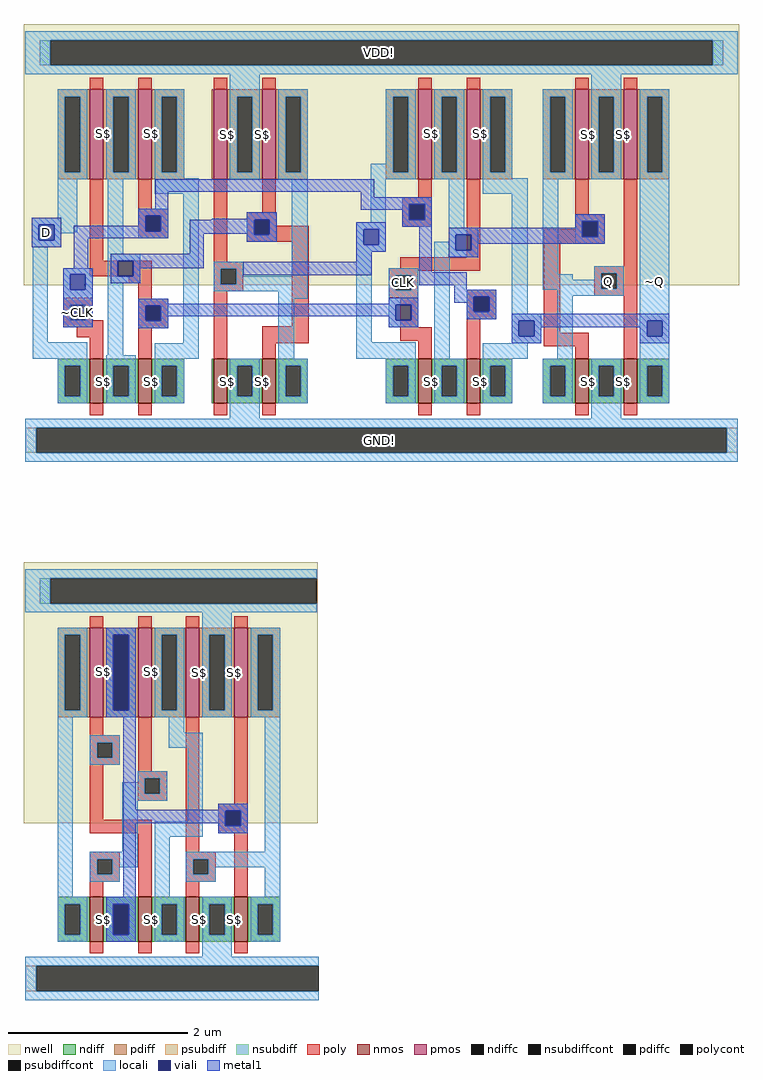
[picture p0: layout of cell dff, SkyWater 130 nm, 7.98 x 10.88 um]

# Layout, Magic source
magic
tech sky130A
<< nwell >>
rect -2 197 796 488
rect -2 -403 326 -112
<< nmos >>
rect 72 65 87 115
rect 126 65 141 115
rect 210 65 225 115
rect 264 65 279 115
rect 438 65 453 115
rect 492 65 507 115
rect 613 65 628 115
rect 667 65 682 115
rect 72 -535 87 -485
rect 126 -535 141 -485
rect 179 -535 194 -485
rect 233 -535 248 -485
<< pmos >>
rect 72 315 87 415
rect 126 315 141 415
rect 210 315 225 415
rect 264 315 279 415
rect 438 315 453 415
rect 492 315 507 415
rect 613 315 628 415
rect 667 315 682 415
rect 72 -285 87 -185
rect 126 -285 141 -185
rect 179 -285 194 -185
rect 233 -285 248 -185
<< ndiff >>
rect 36 107 72 115
rect 36 73 44 107
rect 61 73 72 107
rect 36 65 72 73
rect 87 107 126 115
rect 87 73 98 107
rect 115 73 126 107
rect 87 65 126 73
rect 141 107 177 115
rect 141 73 152 107
rect 169 73 177 107
rect 141 65 177 73
rect 208 65 210 115
rect 225 107 264 115
rect 225 73 236 107
rect 253 73 264 107
rect 225 65 264 73
rect 279 107 315 115
rect 279 73 290 107
rect 307 73 315 107
rect 279 65 315 73
rect 402 107 438 115
rect 402 73 410 107
rect 427 73 438 107
rect 402 65 438 73
rect 453 107 492 115
rect 453 73 464 107
rect 481 73 492 107
rect 453 65 492 73
rect 507 107 543 115
rect 507 73 518 107
rect 535 73 543 107
rect 507 65 543 73
rect 577 107 613 115
rect 577 73 585 107
rect 602 73 613 107
rect 577 65 613 73
rect 628 107 667 115
rect 628 73 639 107
rect 656 73 667 107
rect 628 65 667 73
rect 682 107 718 115
rect 682 73 693 107
rect 710 73 718 107
rect 682 65 718 73
rect 36 -493 72 -485
rect 36 -527 44 -493
rect 61 -527 72 -493
rect 36 -535 72 -527
rect 87 -493 126 -485
rect 87 -527 98 -493
rect 115 -527 126 -493
rect 87 -535 126 -527
rect 141 -493 179 -485
rect 141 -527 152 -493
rect 169 -527 179 -493
rect 141 -535 179 -527
rect 194 -493 233 -485
rect 194 -527 205 -493
rect 222 -527 233 -493
rect 194 -535 233 -527
rect 248 -493 284 -485
rect 248 -527 259 -493
rect 276 -527 284 -493
rect 248 -535 284 -527
<< pdiff >>
rect 36 407 72 415
rect 36 323 44 407
rect 61 323 72 407
rect 36 315 72 323
rect 87 407 126 415
rect 87 323 98 407
rect 115 323 126 407
rect 87 315 126 323
rect 141 407 177 415
rect 141 323 152 407
rect 169 323 177 407
rect 141 315 177 323
rect 208 315 210 415
rect 225 407 264 415
rect 225 323 236 407
rect 253 323 264 407
rect 225 315 264 323
rect 279 407 315 415
rect 279 323 290 407
rect 307 323 315 407
rect 279 315 315 323
rect 402 407 438 415
rect 402 323 410 407
rect 427 323 438 407
rect 402 315 438 323
rect 453 407 492 415
rect 453 323 464 407
rect 481 323 492 407
rect 453 315 492 323
rect 507 407 543 415
rect 507 323 518 407
rect 535 323 543 407
rect 507 315 543 323
rect 577 407 613 415
rect 577 323 585 407
rect 602 323 613 407
rect 577 315 613 323
rect 628 407 667 415
rect 628 323 639 407
rect 656 323 667 407
rect 628 315 667 323
rect 682 407 718 415
rect 682 323 693 407
rect 710 323 718 407
rect 682 315 718 323
rect 36 -193 72 -185
rect 36 -277 44 -193
rect 61 -277 72 -193
rect 36 -285 72 -277
rect 87 -193 126 -185
rect 87 -277 98 -193
rect 115 -277 126 -193
rect 87 -285 126 -277
rect 141 -193 179 -185
rect 141 -277 152 -193
rect 169 -277 179 -193
rect 141 -285 179 -277
rect 194 -193 233 -185
rect 194 -277 205 -193
rect 222 -277 233 -193
rect 194 -285 233 -277
rect 248 -193 284 -185
rect 248 -277 259 -193
rect 276 -277 284 -193
rect 248 -285 284 -277
<< ndiffc >>
rect 44 73 61 107
rect 98 73 115 107
rect 152 73 169 107
rect 236 73 253 107
rect 290 73 307 107
rect 410 73 427 107
rect 464 73 481 107
rect 518 73 535 107
rect 585 73 602 107
rect 639 73 656 107
rect 693 73 710 107
rect 44 -527 61 -493
rect 98 -527 115 -493
rect 152 -527 169 -493
rect 205 -527 222 -493
rect 259 -527 276 -493
<< pdiffc >>
rect 44 323 61 407
rect 98 323 115 407
rect 152 323 169 407
rect 236 323 253 407
rect 290 323 307 407
rect 410 323 427 407
rect 464 323 481 407
rect 518 323 535 407
rect 585 323 602 407
rect 639 323 656 407
rect 693 323 710 407
rect 44 -277 61 -193
rect 98 -277 115 -193
rect 152 -277 169 -193
rect 205 -277 222 -193
rect 259 -277 276 -193
<< psubdiff >>
rect 0 10 12 38
rect 782 10 794 38
rect 0 -590 12 -562
<< nsubdiff >>
rect 16 442 28 470
rect 766 442 778 470
rect 16 -158 28 -130
<< psubdiffcont >>
rect 12 10 782 38
rect 12 -590 327 -562
<< nsubdiffcont >>
rect 28 442 766 470
rect 28 -158 325 -130
<< poly >>
rect 72 415 87 428
rect 126 415 141 428
rect 210 415 225 428
rect 264 415 279 428
rect 438 415 453 428
rect 492 415 507 428
rect 613 415 628 428
rect 667 415 682 428
rect 72 224 87 315
rect 126 282 141 315
rect 126 274 159 282
rect 126 257 134 274
rect 151 257 159 274
rect 126 249 159 257
rect 72 207 141 224
rect 115 199 141 207
rect 42 175 75 183
rect 42 158 50 175
rect 67 158 75 175
rect 126 182 141 199
rect 210 223 225 315
rect 264 278 279 315
rect 438 295 453 315
rect 420 287 453 295
rect 247 270 280 278
rect 247 253 255 270
rect 272 263 280 270
rect 420 270 428 287
rect 445 270 453 287
rect 272 253 316 263
rect 420 262 453 270
rect 247 245 316 253
rect 210 215 243 223
rect 210 198 218 215
rect 235 198 243 215
rect 210 190 243 198
rect 126 174 159 182
rect 42 150 87 158
rect 57 139 87 150
rect 72 115 87 139
rect 126 157 134 174
rect 151 157 159 174
rect 126 149 159 157
rect 126 115 141 149
rect 210 115 225 190
rect 297 151 316 245
rect 492 228 507 315
rect 613 276 628 315
rect 613 268 646 276
rect 613 259 621 268
rect 418 216 507 228
rect 405 213 507 216
rect 578 251 621 259
rect 638 251 646 268
rect 578 243 646 251
rect 405 208 438 213
rect 405 191 413 208
rect 430 191 438 208
rect 405 183 438 191
rect 264 132 316 151
rect 418 150 438 183
rect 492 184 525 192
rect 492 167 500 184
rect 517 167 525 184
rect 492 159 525 167
rect 418 135 453 150
rect 264 115 279 132
rect 438 115 453 135
rect 492 115 507 159
rect 578 144 596 243
rect 667 218 682 315
rect 634 210 682 218
rect 634 193 642 210
rect 659 193 682 210
rect 634 185 682 193
rect 578 129 628 144
rect 613 115 628 129
rect 667 115 682 185
rect 72 52 87 65
rect 126 52 141 65
rect 210 52 225 65
rect 264 52 279 65
rect 438 52 453 65
rect 492 52 507 65
rect 613 52 628 65
rect 667 52 682 65
rect 72 -185 87 -172
rect 126 -185 141 -172
rect 179 -185 194 -172
rect 233 -185 248 -172
rect 72 -305 87 -285
rect 72 -313 105 -305
rect 72 -330 80 -313
rect 97 -330 105 -313
rect 72 -338 105 -330
rect 72 -399 87 -338
rect 126 -345 141 -285
rect 125 -353 158 -345
rect 125 -370 133 -353
rect 150 -370 158 -353
rect 125 -378 158 -370
rect 72 -414 141 -399
rect 72 -443 105 -435
rect 72 -460 80 -443
rect 97 -460 105 -443
rect 72 -468 105 -460
rect 72 -485 87 -468
rect 126 -485 141 -414
rect 179 -435 194 -285
rect 233 -381 248 -285
rect 215 -389 248 -381
rect 215 -406 223 -389
rect 240 -406 248 -389
rect 215 -414 248 -406
rect 179 -443 212 -435
rect 179 -460 187 -443
rect 204 -460 212 -443
rect 179 -468 212 -460
rect 179 -485 194 -468
rect 233 -485 248 -414
rect 72 -548 87 -535
rect 126 -548 141 -535
rect 179 -548 194 -535
rect 233 -548 248 -535
<< polycont >>
rect 134 257 151 274
rect 50 158 67 175
rect 255 253 272 270
rect 428 270 445 287
rect 218 198 235 215
rect 134 157 151 174
rect 621 251 638 268
rect 413 191 430 208
rect 500 167 517 184
rect 642 193 659 210
rect 80 -330 97 -313
rect 133 -370 150 -353
rect 80 -460 97 -443
rect 223 -406 240 -389
rect 187 -460 204 -443
<< locali >>
rect 0 470 794 480
rect 0 442 28 470
rect 766 442 794 470
rect 0 432 794 442
rect 36 407 69 415
rect 36 323 44 407
rect 61 323 69 407
rect 36 315 69 323
rect 90 407 123 415
rect 90 323 98 407
rect 115 323 123 407
rect 90 315 123 323
rect 144 407 177 415
rect 144 323 152 407
rect 169 323 177 407
rect 144 316 177 323
rect 228 407 261 432
rect 228 323 236 407
rect 253 323 261 407
rect 36 272 58 315
rect 7 264 58 272
rect 7 247 15 264
rect 32 256 58 264
rect 32 255 54 256
rect 32 247 40 255
rect 7 239 40 247
rect 8 133 25 239
rect 92 232 109 315
rect 144 299 193 316
rect 228 315 261 323
rect 282 407 315 415
rect 282 323 290 407
rect 307 323 315 407
rect 402 407 435 415
rect 402 332 410 407
rect 282 315 315 323
rect 126 274 159 282
rect 126 257 134 274
rect 151 257 159 274
rect 126 249 159 257
rect 92 224 128 232
rect 42 209 75 216
rect 42 192 50 209
rect 67 192 75 209
rect 42 175 75 192
rect 42 158 50 175
rect 67 158 75 175
rect 42 150 75 158
rect 92 207 103 224
rect 120 207 128 224
rect 92 199 128 207
rect 8 115 69 133
rect 92 119 109 199
rect 126 174 159 182
rect 126 157 134 174
rect 151 157 159 174
rect 126 149 159 157
rect 176 132 193 299
rect 247 270 280 278
rect 247 253 255 270
rect 272 253 280 270
rect 247 245 280 253
rect 210 215 243 223
rect 210 198 218 215
rect 235 207 243 215
rect 297 207 315 315
rect 385 323 410 332
rect 427 323 435 407
rect 385 315 435 323
rect 456 407 489 415
rect 456 323 464 407
rect 481 323 489 407
rect 456 315 489 323
rect 385 267 402 315
rect 235 198 315 207
rect 210 190 315 198
rect 36 107 69 115
rect 36 73 44 107
rect 61 73 69 107
rect 36 65 69 73
rect 90 107 123 119
rect 90 73 98 107
rect 115 73 123 107
rect 90 65 123 73
rect 144 115 193 132
rect 282 182 315 190
rect 369 259 402 267
rect 420 287 453 295
rect 420 270 428 287
rect 445 270 453 287
rect 420 262 453 270
rect 369 242 377 259
rect 394 242 402 259
rect 472 261 489 315
rect 510 407 543 415
rect 510 323 518 407
rect 535 323 543 407
rect 510 316 543 323
rect 577 407 610 415
rect 577 323 585 407
rect 602 323 610 407
rect 510 299 560 316
rect 472 253 505 261
rect 472 245 480 253
rect 369 234 402 242
rect 456 236 480 245
rect 497 236 505 253
rect 282 115 300 182
rect 369 133 386 234
rect 456 228 505 236
rect 405 208 438 216
rect 405 191 413 208
rect 430 191 438 208
rect 405 175 438 191
rect 405 158 413 175
rect 430 158 438 175
rect 405 150 438 158
rect 369 115 435 133
rect 144 107 177 115
rect 144 73 152 107
rect 169 73 177 107
rect 144 65 177 73
rect 228 107 261 115
rect 228 73 236 107
rect 253 73 261 107
rect 228 48 261 73
rect 282 107 315 115
rect 282 73 290 107
rect 307 73 315 107
rect 282 65 315 73
rect 402 107 435 115
rect 402 73 410 107
rect 427 73 435 107
rect 402 65 435 73
rect 456 115 473 228
rect 492 184 525 192
rect 492 167 500 184
rect 517 167 525 184
rect 492 159 525 167
rect 542 165 560 299
rect 577 315 610 323
rect 631 407 664 432
rect 631 323 639 407
rect 656 323 664 407
rect 631 315 664 323
rect 685 407 718 415
rect 685 323 693 407
rect 710 323 718 407
rect 577 209 594 315
rect 613 268 646 276
rect 613 251 621 268
rect 638 251 646 268
rect 613 243 646 251
rect 634 210 667 218
rect 577 203 610 209
rect 634 203 642 210
rect 577 193 642 203
rect 659 193 667 210
rect 577 192 667 193
rect 593 185 667 192
rect 542 157 575 165
rect 542 140 550 157
rect 567 140 575 157
rect 542 132 575 140
rect 510 115 560 132
rect 593 115 610 185
rect 685 157 718 323
rect 685 140 693 157
rect 710 140 718 157
rect 456 107 489 115
rect 456 73 464 107
rect 481 73 489 107
rect 456 65 489 73
rect 510 107 543 115
rect 510 73 518 107
rect 535 73 543 107
rect 510 65 543 73
rect 577 107 610 115
rect 577 73 585 107
rect 602 73 610 107
rect 577 65 610 73
rect 631 107 664 115
rect 631 73 639 107
rect 656 73 664 107
rect 631 48 664 73
rect 685 107 718 140
rect 685 73 693 107
rect 710 73 718 107
rect 685 65 718 73
rect 0 38 794 48
rect 0 10 12 38
rect 782 10 794 38
rect 0 0 794 10
rect 0 -130 325 -120
rect 0 -158 28 -130
rect 0 -168 325 -158
rect 36 -193 69 -185
rect 36 -277 44 -193
rect 61 -277 69 -193
rect 36 -285 69 -277
rect 90 -193 123 -185
rect 90 -277 98 -193
rect 115 -277 123 -193
rect 90 -285 123 -277
rect 144 -193 177 -185
rect 144 -277 152 -193
rect 169 -277 177 -193
rect 144 -285 177 -277
rect 197 -193 230 -168
rect 197 -277 205 -193
rect 222 -277 230 -193
rect 197 -285 230 -277
rect 251 -193 284 -185
rect 251 -277 259 -193
rect 276 -277 284 -193
rect 251 -285 284 -277
rect 36 -485 53 -285
rect 160 -302 177 -285
rect 72 -313 105 -305
rect 72 -330 80 -313
rect 97 -330 105 -313
rect 160 -319 198 -302
rect 72 -338 105 -330
rect 125 -353 158 -345
rect 125 -357 133 -353
rect 108 -370 133 -357
rect 150 -370 158 -353
rect 108 -378 158 -370
rect 108 -435 125 -378
rect 181 -401 198 -319
rect 72 -443 125 -435
rect 72 -460 80 -443
rect 97 -452 125 -443
rect 144 -418 198 -401
rect 215 -389 248 -381
rect 215 -406 223 -389
rect 240 -406 248 -389
rect 215 -414 248 -406
rect 97 -460 105 -452
rect 72 -468 105 -460
rect 144 -485 161 -418
rect 267 -435 284 -285
rect 179 -443 284 -435
rect 179 -460 187 -443
rect 204 -452 284 -443
rect 204 -460 212 -452
rect 179 -468 212 -460
rect 267 -485 284 -452
rect 36 -493 69 -485
rect 36 -527 44 -493
rect 61 -527 69 -493
rect 36 -535 69 -527
rect 90 -493 123 -485
rect 90 -527 98 -493
rect 115 -527 123 -493
rect 90 -535 123 -527
rect 144 -493 177 -485
rect 144 -527 152 -493
rect 169 -527 177 -493
rect 144 -535 177 -527
rect 197 -493 230 -485
rect 197 -527 205 -493
rect 222 -527 230 -493
rect 197 -552 230 -527
rect 251 -493 284 -485
rect 251 -527 259 -493
rect 276 -527 284 -493
rect 251 -535 284 -527
rect 0 -562 327 -552
rect 0 -590 12 -562
rect 0 -600 327 -590
<< viali >>
rect 15 247 32 264
rect 134 257 151 274
rect 50 192 67 209
rect 103 207 120 224
rect 134 157 151 174
rect 255 253 272 270
rect 428 270 445 287
rect 377 242 394 259
rect 480 236 497 253
rect 413 158 430 175
rect 500 167 517 184
rect 621 251 638 268
rect 550 140 567 157
rect 693 140 710 157
rect 98 -277 115 -193
rect 223 -406 240 -389
rect 98 -527 115 -493
<< metal1 >>
rect 145 301 389 315
rect 145 282 159 301
rect 126 274 159 282
rect 374 295 389 301
rect 374 287 453 295
rect 374 281 428 287
rect 7 264 40 272
rect 7 247 15 264
rect 32 247 40 264
rect 126 263 134 274
rect 7 239 40 247
rect 54 257 134 263
rect 151 257 159 274
rect 247 271 280 278
rect 208 270 280 271
rect 54 249 159 257
rect 183 254 255 270
rect 54 216 70 249
rect 183 232 199 254
rect 247 253 255 254
rect 272 253 280 270
rect 420 270 428 281
rect 445 270 453 287
rect 247 245 280 253
rect 369 259 402 267
rect 420 262 453 270
rect 95 224 199 232
rect 42 209 75 216
rect 42 192 50 209
rect 67 192 75 209
rect 95 207 103 224
rect 120 216 199 224
rect 369 242 377 259
rect 394 242 402 259
rect 369 234 402 242
rect 369 223 386 234
rect 120 207 128 216
rect 243 208 386 223
rect 439 211 453 262
rect 613 268 646 276
rect 613 261 621 268
rect 472 253 621 261
rect 472 236 480 253
rect 497 251 621 253
rect 638 251 646 268
rect 497 243 646 251
rect 497 236 505 243
rect 472 228 505 236
rect 95 199 128 207
rect 439 197 492 211
rect 42 150 75 192
rect 478 192 492 197
rect 478 184 525 192
rect 126 176 159 182
rect 405 176 438 183
rect 478 177 500 184
rect 126 175 438 176
rect 126 174 413 175
rect 126 157 134 174
rect 151 162 413 174
rect 151 157 159 162
rect 126 149 159 157
rect 405 158 413 162
rect 430 158 438 175
rect 492 167 500 177
rect 517 167 525 184
rect 492 159 525 167
rect 405 150 438 158
rect 542 157 718 165
rect 542 140 550 157
rect 567 150 693 157
rect 567 140 575 150
rect 542 132 575 140
rect 685 140 693 150
rect 710 140 718 157
rect 685 132 718 140
rect 90 -193 123 -185
rect 90 -277 98 -193
rect 115 -277 123 -193
rect 90 -285 123 -277
rect 109 -388 123 -285
rect 215 -388 248 -381
rect 109 -389 248 -388
rect 109 -403 223 -389
rect 109 -485 123 -403
rect 215 -406 223 -403
rect 240 -406 248 -389
rect 215 -414 248 -406
rect 90 -493 123 -485
rect 90 -527 98 -493
rect 115 -527 123 -493
rect 90 -535 123 -527
<< labels >>
flabel pdiff 87 366 87 366 1 FreeSerif 8 0 0 0 S$
flabel pdiff 141 366 141 366 1 FreeSerif 8 0 0 0 S$
flabel ndiff 141 90 141 90 1 FreeSerif 8 0 0 0 S$
flabel ndiff 87 90 87 90 1 FreeSerif 8 0 0 0 S$
flabel locali 0 432 790 480 0 FreeSerif 80 0 0 0 VDD!
port 15 nsew
flabel locali 0 0 790 48 0 FreeSerif 80 0 0 0 GND!
port 16 nsew
flabel locali 7 239 40 272 0 FreeSerif 80 0 0 0 D
port 0 nsew
flabel locali 42 150 75 183 0 FreeSerif 80 0 0 0 ~CLK
port 1 nsew
flabel pdiff 453 366 453 366 1 FreeSerif 8 0 0 0 S$
flabel pdiff 507 366 507 366 1 FreeSerif 8 0 0 0 S$
flabel ndiff 507 90 507 90 1 FreeSerif 8 0 0 0 S$
flabel ndiff 453 90 453 90 1 FreeSerif 8 0 0 0 S$
flabel locali 405 183 438 216 0 FreeSerif 80 0 0 0 CLK
port 2 nsew
flabel ndiff 628 90 628 90 1 FreeSerif 8 180 0 0 S$
flabel pdiff 628 365 628 365 1 FreeSerif 8 180 0 0 S$
flabel locali 634 185 667 218 0 FreeSerif 80 0 0 0 Q
port 4 nsew
flabel pdiff 667 365 667 365 1 FreeSerif 8 0 0 0 S$
flabel ndiff 667 90 667 90 1 FreeSerif 8 0 0 0 S$
flabel locali 685 182 718 219 0 FreeSerif 80 0 0 0 ~Q
port 3 nsew
flabel pdiff 225 365 225 365 1 FreeSerif 8 180 0 0 S$
flabel ndiff 225 90 225 90 1 FreeSerif 8 180 0 0 S$
flabel ndiff 264 90 264 90 1 FreeSerif 8 0 0 0 S$
flabel pdiff 264 365 264 365 1 FreeSerif 8 0 0 0 S$
flabel pdiff 87 -234 87 -234 1 FreeSerif 8 0 0 0 S$
flabel pdiff 141 -234 141 -234 1 FreeSerif 8 0 0 0 S$
flabel ndiff 141 -510 141 -510 1 FreeSerif 8 0 0 0 S$
flabel ndiff 87 -510 87 -510 1 FreeSerif 8 0 0 0 S$
flabel pdiff 194 -235 194 -235 1 FreeSerif 8 180 0 0 S$
flabel ndiff 194 -510 194 -510 1 FreeSerif 8 180 0 0 S$
flabel ndiff 233 -510 233 -510 1 FreeSerif 8 0 0 0 S$
flabel pdiff 233 -235 233 -235 1 FreeSerif 8 0 0 0 S$
<< end >>
